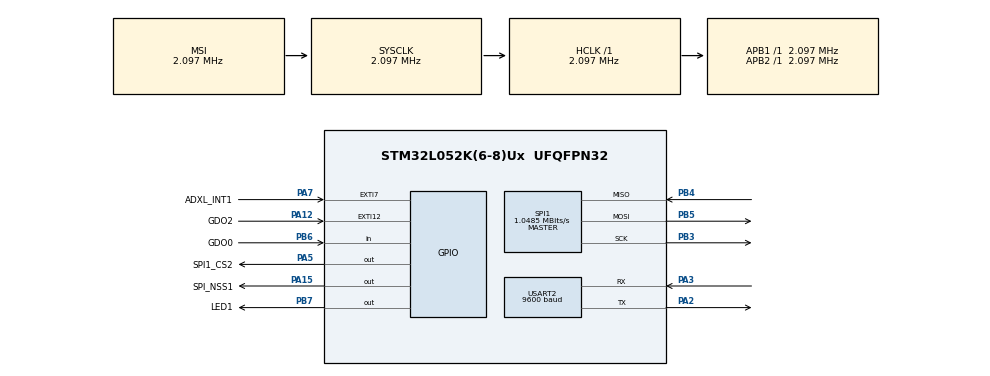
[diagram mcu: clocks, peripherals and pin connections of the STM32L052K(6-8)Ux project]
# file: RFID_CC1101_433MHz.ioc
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IWDG.Prescaler=IWDG_PRESCALER_256
Mcu.Family=STM32L0
Mcu.Name=STM32L052K(6-8)Ux
Mcu.Package=UFQFPN32
NVIC.EXTI4_15_IRQn=true\:1\:0\:true\:false\:true\:true\:true
NVIC.USART2_IRQn=true\:2\:0\:true\:false\:true\:true\:true
PA12.GPIO_Label=GDO2
PA12.GPIO_ModeDefaultEXTI=GPIO_MODE_IT_FALLING
PA12.Signal=GPXTI12
PA13.Mode=Serial_Wire
PA13.Signal=SYS_SWDIO
PA14.Mode=Serial_Wire
PA14.Signal=SYS_SWCLK
PA15.GPIO_Label=SPI_NSS1
PA15.GPIO_PuPd=GPIO_PULLUP
PA15.PinState=GPIO_PIN_SET
PA15.Signal=GPIO_Output
PA2.Mode=Asynchronous
PA2.Signal=USART2_TX
PA3.Mode=Asynchronous
PA3.Signal=USART2_RX
PA5.GPIO_Label=SPI1_CS2
PA5.GPIO_PuPd=GPIO_PULLUP
PA5.PinState=GPIO_PIN_SET
PA5.Signal=GPIO_Output
PA7.GPIO_Label=ADXL_INT1
PA7.Signal=GPXTI7
PB3.Mode=Full_Duplex_Master
PB3.Signal=SPI1_SCK
PB4.Mode=Full_Duplex_Master
PB4.Signal=SPI1_MISO
PB5.Mode=Full_Duplex_Master
PB5.Signal=SPI1_MOSI
PB6.GPIO_Label=GDO0
PB6.Signal=GPIO_Input
PB7.GPIO_Label=LED1
PB7.GPIO_PuPd=GPIO_PULLUP
PB7.PinState=GPIO_PIN_SET
PB7.Signal=GPIO_Output
PC14-OSC32_IN.Mode=LSE-External-Oscillator
PC14-OSC32_IN.Signal=RCC_OSC32_IN
PC15-OSC32_OUT.Mode=LSE-External-Oscillator
PC15-OSC32_OUT.Signal=RCC_OSC32_OUT
ProjectManager.HeapSize=0x200
ProjectManager.StackSize=0x400
ProjectManager.TargetToolchain=MDK-ARM V5.27
RCC.AHBFreq_Value=2097000
RCC.APB1Freq_Value=2097000
RCC.APB1TimFreq_Value=2097000
RCC.APB2Freq_Value=2097000
RCC.APB2TimFreq_Value=2097000
RCC.HCLKFreq_Value=2097000
RCC.HSI16_VALUE=16000000
RCC.HSI48_VALUE=48000000
RCC.HSI_VALUE=16000000
RCC.MSI_VALUE=2097000
RCC.PLLDIV=RCC_PLLDIV_4
RCC.PLLMUL=RCC_PLLMUL_4
RCC.SYSCLKFreq_VALUE=2097000
RCC.VCOOutputFreq_Value=64000000
SPI1.BaudRatePrescaler=SPI_BAUDRATEPRESCALER_2
SPI1.CalculateBaudRate=1.0485 MBits/s
SPI1.Direction=SPI_DIRECTION_2LINES
SPI1.Mode=SPI_MODE_MASTER
SPI1.VirtualType=VM_MASTER
USART2.BaudRate=9600
USART2.VirtualMode-Asynchronous=VM_ASYNC
VP_IWDG_VS_IWDG.Mode=IWDG_Activate
board=custom

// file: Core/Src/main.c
/* USER CODE BEGIN Header */
/**
  ******************************************************************************
  * @file           : main.c
  * @brief          : Main program body
  ******************************************************************************
  * @attention
  *
  * <h2><center>&copy; Copyright (c) 2020 STMicroelectronics.
  * All rights reserved.</center></h2>
  *
  * This software component is licensed by ST under BSD 3-Clause license,
  * the "License"; You may not use this file except in compliance with the
  * License. You may obtain a copy of the License at:
  *                        opensource.org/licenses/BSD-3-Clause
  *
  ******************************************************************************
  */
/* USER CODE END Header */
#include "main.h"
#include "iwdg.h"
#include "spi.h"
#include "usart.h"
#include "gpio.h"

/* USER CODE BEGIN Includes */
#include "cc1101.h"
#include "adxl362.h"
/* USER CODE END Includes */

/* USER CODE BEGIN PV */
uint32_t Device_Serial0;
uint32_t Device_Serial1;
uint32_t Device_Serial2;
uint8_t addr_eeprom;
uint16_t sync_eeprom;
uint32_t rfid_eeprom;
uint8_t rx_index = 0x0;
uint8_t	Chip_Addr = 0;
uint8_t	RSSI = 0;

uint8_t step_stage;
uint16_t timedelay;
uint8_t battery_low;
uint16_t step[STEP_NUM];

uint8_t SendBuffer[SEND_LLENGTH] = {0};
uint8_t RecvBuffer[RECV_LENGTH] = {0};

extern uint8_t RxBuffer[RXBUFFERSIZE];
extern __IO FlagStatus CommandState;
/* USER CODE END PV */

void SystemClock_Config(void);

int main(void)
{

  /* MCU Configuration--------------------------------------------------------*/

  /* Reset of all peripherals, Initializes the Flash interface and the Systick. */
  HAL_Init();

  /* Configure the system clock */
  SystemClock_Config();

  /* Initialize all configured peripherals */
  MX_GPIO_Init();
  MX_SPI1_Init();
  MX_USART2_UART_Init();
  MX_IWDG_Init();
  /* USER CODE BEGIN 2 */
  System_Initial();
  Show_Message();
  /* USER CODE END 2 */

  /* Infinite loop */
  /* USER CODE BEGIN WHILE */
  while (1)
  {
		/* Refresh IWDG down-counter to default value */
		LL_IWDG_ReloadCounter(IWDG);
		rx_index = RF_RecvHandler();
		if(rx_index != 0x0)
		{
			RF_SendPacket(rx_index);
		}
    /* USER CODE END WHILE */

    /* USER CODE BEGIN 3 */
		if(CommandState == SET)
		{
			Set_DeviceInfo();
			CommandState = RESET;
		}
  }
  /* USER CODE END 3 */
}

void SystemClock_Config(void)
{
  RCC_OscInitTypeDef RCC_OscInitStruct = {0};
  RCC_ClkInitTypeDef RCC_ClkInitStruct = {0};
  RCC_PeriphCLKInitTypeDef PeriphClkInit = {0};

  /** Configure the main internal regulator output voltage
  */
  __HAL_PWR_VOLTAGESCALING_CONFIG(PWR_REGULATOR_VOLTAGE_SCALE1);
  /** Initializes the RCC Oscillators according to the specified parameters
  * in the RCC_OscInitTypeDef structure.
  */
  RCC_OscInitStruct.OscillatorType = RCC_OSCILLATORTYPE_LSI|RCC_OSCILLATORTYPE_MSI;
  RCC_OscInitStruct.LSIState = RCC_LSI_ON;
  RCC_OscInitStruct.MSIState = RCC_MSI_ON;
  RCC_OscInitStruct.MSICalibrationValue = 0;
  RCC_OscInitStruct.MSIClockRange = RCC_MSIRANGE_5;
  RCC_OscInitStruct.PLL.PLLState = RCC_PLL_NONE;
  if (HAL_RCC_OscConfig(&RCC_OscInitStruct) != HAL_OK)
  {
    Error_Handler();
  }
  /** Initializes the CPU, AHB and APB buses clocks
  */
  RCC_ClkInitStruct.ClockType = RCC_CLOCKTYPE_HCLK|RCC_CLOCKTYPE_SYSCLK
                              |RCC_CLOCKTYPE_PCLK1|RCC_CLOCKTYPE_PCLK2;
  RCC_ClkInitStruct.SYSCLKSource = RCC_SYSCLKSOURCE_MSI;
  RCC_ClkInitStruct.AHBCLKDivider = RCC_SYSCLK_DIV1;
  RCC_ClkInitStruct.APB1CLKDivider = RCC_HCLK_DIV1;
  RCC_ClkInitStruct.APB2CLKDivider = RCC_HCLK_DIV1;

  if (HAL_RCC_ClockConfig(&RCC_ClkInitStruct, FLASH_LATENCY_0) != HAL_OK)
  {
    Error_Handler();
  }
  PeriphClkInit.PeriphClockSelection = RCC_PERIPHCLK_USART2;
  PeriphClkInit.Usart2ClockSelection = RCC_USART2CLKSOURCE_PCLK1;
  if (HAL_RCCEx_PeriphCLKConfig(&PeriphClkInit) != HAL_OK)
  {
    Error_Handler();
  }
}

/* USER CODE BEGIN 4 */
/**
  * @brief System Initial
  * @retval None
*/
void System_Initial(void)
{
	uint8_t i;
	/*##-1- initial all peripheral ##*/
	#ifdef DEBUG
		Activate_USART2_RXIT();
	#endif
	#ifndef DEBUG
		MX_USART2_UART_DeInit();
	#endif
	Activate_SPI();
	Get_SerialNum();
	ADXL362_Init();
	/*##-2- initial CC1101 peripheral,configure it's address and sync code ##*/
	addr_eeprom = (uint8_t)(0xff & DATAEEPROM_Read(EEPROM_START_ADDR)>>16);
	sync_eeprom = (uint16_t)(0xffff & DATAEEPROM_Read(EEPROM_START_ADDR));
	rfid_eeprom	= DATAEEPROM_Read(EEPROM_START_ADDR+4);
	#ifdef DEBUG
		printf("addr_eeprom = %x\n",addr_eeprom);
		printf("sync_eeprom = %x\n",sync_eeprom);
		printf("rfid_eeprom = %x\n",(unsigned int)rfid_eeprom);
	#endif
	RFIDInitial(addr_eeprom, sync_eeprom, IDLE_MODE);

	for(i = 0;i < STEP_NUM; i++)
	{
		step[i] = (uint16_t)(0x0000FFFF & DATAEEPROM_Read(EEPROM_START_ADDR+4*i+8));
		DATAEEPROM_Program(EEPROM_START_ADDR+4*i+8, 0x0);
	}

	step_stage = (uint8_t)(0x000000FF & DATAEEPROM_Read(EEPROM_START_ADDR+152));
	DATAEEPROM_Program(EEPROM_START_ADDR+152, 0x0);
	battery_low = (uint8_t)(0x000000FF & DATAEEPROM_Read(EEPROM_START_ADDR+160));
	DATAEEPROM_Program(EEPROM_START_ADDR+160, 0x0);
	timedelay = (uint16_t)(0x0000FFFF & DATAEEPROM_Read(EEPROM_START_ADDR+168));
	DATAEEPROM_Program(EEPROM_START_ADDR+168, Time_Delay);
}

/**
  * @brief Get Device Unique Code
  * @retval None
*/
void Get_SerialNum(void)
{
  Device_Serial0 = *(uint32_t*)(0x1FF80050);
  Device_Serial1 = *(uint32_t*)(0x1FF80054);
  Device_Serial2 = *(uint32_t*)(0x1FF80064);
}

/**
  * @brief Show Message
  * @retval None
*/
void Show_Message(void)
{
	unsigned int  ReadValueTemp;
	#ifdef DEBUG
		printf("\r\n CC1101 chip transfer program \n");
		printf(" using USART2,configuration:%d 8-N-1 \n",9600);
		printf(" when in transfer mode,the data must not exceed 60 bytes!!\r\n");
	#endif
	#ifdef DEBUG
		printf("Device_Serial0 : %x\n",(unsigned int)Device_Serial0);
		printf("Device_Serial1 : %x\n",(unsigned int)Device_Serial1);
		printf("Device_Serial2 : %x\n",(unsigned int)Device_Serial2);
	#endif
	ReadValueTemp = ADXL362RegisterRead(XL362_DEVID_AD);     	//Analog Devices device ID, 0xAD
	if(ReadValueTemp == 0xAD)
	{
		LED_GREEN_OFF();
		HAL_Delay(500);
	}
	#ifdef DEBUG
		printf("Analog Devices device ID: %x\n",ReadValueTemp);	 	//send via UART
	#endif
	ReadValueTemp = ADXL362RegisterRead(XL362_DEVID_MST);    	//Analog Devices MEMS device ID, 0x1D
	if(ReadValueTemp == 0x1D)
	{
		LED_GREEN_ON();
		HAL_Delay(500);
	}
	#ifdef DEBUG
		printf("Analog Devices MEMS device ID: %x\n",ReadValueTemp);	//send via UART
	#endif
	ReadValueTemp = ADXL362RegisterRead(XL362_PARTID);       	//part ID, 0xF2
	if(ReadValueTemp == 0xF2)
	{
		LED_GREEN_OFF();
		HAL_Delay(500);
	}
	#ifdef DEBUG
		printf("Part ID: %x\n",ReadValueTemp);										//send via UART
	#endif
	ReadValueTemp = ADXL362RegisterRead(XL362_REVID);       	//version ID, 0x02
	if(ReadValueTemp == 0x02)
	{
		LED_GREEN_ON();
	}
	#ifdef DEBUG
		printf("Version ID: %x\n",ReadValueTemp);									//send via UART
	#endif
}

/**
  * @brief Receive RF Single
  * @retval index
*/
uint8_t RF_RecvHandler(void)
{
	uint8_t length=0;
	int16_t rssi_dBm;
	uint32_t timeout;
	uint8_t i;

	if(CC1101_IRQ_READ() == 0)
		{
			#ifdef DEBUG
				printf("interrupt occur\n");
			#endif
			timeout = Delay_TimeOut;
			while (CC1101_IRQ_READ() == 0 && timeout != 0)
			{
				timeout--;
			}
			for (i=0; i<RECV_LENGTH; i++)   { RecvBuffer[i] = 0; } // clear array
			length = CC1101RecPacket(RecvBuffer, &Chip_Addr, &RSSI);

			#ifdef DEBUG
				rssi_dBm = CC1101CalcRSSI_dBm(RSSI);
				printf("RSSI = %ddBm, length = %d, address = %d\n",rssi_dBm,length,Chip_Addr);
				for(i=0; i<RECV_LENGTH; i++)
				{
					printf("%x ",RecvBuffer[i]);
				}
			#endif
			if(length == 0)
				{
					#ifdef DEBUG
						printf("receive error or Address Filtering fail\n");
					#endif
					return 0x01;
				}
			else
				{
					if(RecvBuffer[0] == 0xAB && RecvBuffer[1] == 0xCD)
					{
						if(RecvBuffer[4] == 0xC0 && RecvBuffer[5] == 0xC0)
						{return 0x04;}
						else if(RecvBuffer[4] == 0xC2 && RecvBuffer[5] == 0xC2)
						{return 0x05;}
						else if(RecvBuffer[4] == 0xC3 && RecvBuffer[5] == 0xC3)
						{return 0x06;}
						else if(RecvBuffer[4] == 0xC4 && RecvBuffer[5] == 0xC4)
						{return 0x07;}
						else if(RecvBuffer[4] == 0xC5 && RecvBuffer[5] == 0xC5)
						{return 0x08;}
						else if(RecvBuffer[4] == 0xC6 && RecvBuffer[5] == 0xC6)
						{return 0x09;}
						else
						{
							#ifdef DEBUG
								printf("receive function order error\r\n");
							#endif
							return 0x03;}
					}
					else
					{
						#ifdef DEBUG
							printf("receive package beginning error\r\n");
						#endif
						return 0x02;}
				}
		}
	else	{return 0x00;}
}
/**
  * @brief Send RF Single
  * @retval None
*/
void RF_SendPacket(uint8_t index)
{
	uint32_t data;
	uint32_t dataeeprom;// 从eeprom中读出的数
	uint8_t i;

//	LED_GREEN_OFF();

	switch(index)
	{
		case 0x01://receive error or Address Filtering fail
			SendBuffer[0] = 0xAB;
			SendBuffer[1] = 0xCD;
			SendBuffer[2] = RecvBuffer[2];
			SendBuffer[3] = RecvBuffer[3];
			SendBuffer[4] = 0x01;
			SendBuffer[5] = 0x01;
			SendBuffer[6] = RecvBuffer[6];
			SendBuffer[7] = RecvBuffer[7];
			SendBuffer[8] = RecvBuffer[8];
			SendBuffer[9] = RecvBuffer[9];
			SendBuffer[10] = 0xE0;
			SendBuffer[18] = RSSI;

			HAL_Delay(Time_Delay);
			CC1101SendPacket(SendBuffer, SEND_SLENGTH, ADDRESS_CHECK);
			break;
		case 0x02://receive package beginning error
			SendBuffer[0] = 0xAB;
			SendBuffer[1] = 0xCD;
			SendBuffer[2] = RecvBuffer[2];
			SendBuffer[3] = RecvBuffer[3];
			SendBuffer[4] = 0x02;
			SendBuffer[5] = 0x02;
			SendBuffer[6] = RecvBuffer[6];
			SendBuffer[7] = RecvBuffer[7];
			SendBuffer[8] = RecvBuffer[8];
			SendBuffer[9] = RecvBuffer[9];
			SendBuffer[10] = 0xE1;
			SendBuffer[18] = RSSI;

			HAL_Delay(Time_Delay);
			CC1101SendPacket(SendBuffer, SEND_SLENGTH, ADDRESS_CHECK);
			break;
		case 0x03://receive function order error
			SendBuffer[0] = 0xAB;
			SendBuffer[1] = 0xCD;
			SendBuffer[2] = RecvBuffer[2];
			SendBuffer[3] = RecvBuffer[3];
			SendBuffer[4] = 0x03;
			SendBuffer[5] = 0x03;
			SendBuffer[6] = RecvBuffer[6];
			SendBuffer[7] = RecvBuffer[7];
			SendBuffer[8] = RecvBuffer[8];
			SendBuffer[9] = RecvBuffer[9];
			SendBuffer[10] = 0xE2;
			SendBuffer[18] = RSSI;

			HAL_Delay(Time_Delay);
			CC1101SendPacket(SendBuffer, SEND_SLENGTH, ADDRESS_CHECK);
			break;

		case 0x04:
			SendBuffer[0] = 0xAB;
			SendBuffer[1] = 0xCD;
			SendBuffer[2] = RecvBuffer[2];
			SendBuffer[3] = RecvBuffer[3];
			SendBuffer[4] = 0xD0;
			SendBuffer[5] = 0x01;
			SendBuffer[6] = (uint8_t)(0x000000FF & Device_Serial2>>24);
			SendBuffer[7] = (uint8_t)(0x000000FF & Device_Serial2>>16);
			SendBuffer[8] = (uint8_t)(0x000000FF & Device_Serial2>>8);
			SendBuffer[9] = (uint8_t)(0x000000FF & Device_Serial2);
			SendBuffer[10] = (uint8_t)(0x000000FF & Device_Serial1>>24);
			SendBuffer[11] = (uint8_t)(0x000000FF & Device_Serial1>>16);
			SendBuffer[12] = (uint8_t)(0x000000FF & Device_Serial1>>8);
			SendBuffer[13] = (uint8_t)(0x000000FF & Device_Serial1);
			SendBuffer[14] = (uint8_t)(0x000000FF & Device_Serial0>>24);
			SendBuffer[15] = (uint8_t)(0x000000FF & Device_Serial0>>16);
			SendBuffer[16] = (uint8_t)(0x000000FF & Device_Serial0>>8);
			SendBuffer[17] = (uint8_t)(0x000000FF & Device_Serial0);

			for(i = 0;i < STEP_NUM; i++)
			{
				SendBuffer[18+i*2] = (uint8_t)(0x00FF & step[i]>>8);
				SendBuffer[19+i*2] = (uint8_t)(0x00FF & step[i]);
			}
			SendBuffer[90] = step_stage;
			SendBuffer[91] = battery_low;
			SendBuffer[92] = RSSI;

//			for(i=0; i<SEND_LLENGTH; i++)
//			{
//				printf("%x ",SendBuffer[i]);
//			}
//			printf("\r\n");

			HAL_Delay(Time_Delay);
			CC1101SendPacket(SendBuffer, SEND_LLENGTH, ADDRESS_CHECK);
			break;

		case 0x05:
			battery_low = 0x00;
			DATAEEPROM_Program(EEPROM_START_ADDR+160, battery_low);
			SendBuffer[0] = 0xAB;
			SendBuffer[1] = 0xCD;
			SendBuffer[2] = RecvBuffer[2];
			SendBuffer[3] = RecvBuffer[3];
			SendBuffer[4] = 0xD2;
			SendBuffer[5] = 0x01;
			SendBuffer[6] = RecvBuffer[6];
			SendBuffer[7] = RecvBuffer[7];
			SendBuffer[8] = RecvBuffer[8];
			SendBuffer[9] = RecvBuffer[9];
			battery_low = (uint8_t)(0x000000FF & DATAEEPROM_Read(EEPROM_START_ADDR+160));
			SendBuffer[10] = battery_low;
			SendBuffer[18] = RSSI;

			HAL_Delay(Time_Delay);
			CC1101SendPacket(SendBuffer, SEND_SLENGTH, ADDRESS_CHECK);
			break;

		case 0x06:
			ADXL362_ReInit(RecvBuffer[10], RecvBuffer[11], RecvBuffer[13], RecvBuffer[14], RecvBuffer[15], RecvBuffer[16], RecvBuffer[17]);
			SendBuffer[0] = 0xAB;
			SendBuffer[1] = 0xCD;
			SendBuffer[2] = RecvBuffer[2];
			SendBuffer[3] = RecvBuffer[3];
			SendBuffer[4] = 0xD3;
			SendBuffer[5] = 0x01;
			SendBuffer[6] = RecvBuffer[6];
			SendBuffer[7] = RecvBuffer[7];
			SendBuffer[8] = RecvBuffer[8];
			SendBuffer[9] = RecvBuffer[9];
			SendBuffer[10] = ADXL362RegisterRead(XL362_THRESH_ACT_H);
			SendBuffer[11] = ADXL362RegisterRead(XL362_THRESH_ACT_L);
			SendBuffer[12] = ADXL362RegisterRead(XL362_TIME_ACT);
			SendBuffer[13] = ADXL362RegisterRead(XL362_THRESH_INACT_H);
			SendBuffer[14] = ADXL362RegisterRead(XL362_THRESH_INACT_L);
			SendBuffer[15] = ADXL362RegisterRead(XL362_TIME_INACT_H);
			SendBuffer[16] = ADXL362RegisterRead(XL362_TIME_INACT_L);
			SendBuffer[17] = ADXL362RegisterRead(XL362_FILTER_CTL);
			SendBuffer[18] = RSSI;

			HAL_Delay(Time_Delay);
			CC1101SendPacket(SendBuffer, SEND_SLENGTH, ADDRESS_CHECK);
			break;

		case 0x07:
			SendBuffer[0] = 0xAB;
			SendBuffer[1] = 0xCD;
			SendBuffer[2] = RecvBuffer[2];
			SendBuffer[3] = RecvBuffer[3];
			SendBuffer[4] = 0xD4;
			SendBuffer[5] = 0x01;
			SendBuffer[6] = (uint8_t)(0x000000FF & Device_Serial2>>24);
			SendBuffer[7] = (uint8_t)(0x000000FF & Device_Serial2>>16);
			SendBuffer[8] = (uint8_t)(0x000000FF & Device_Serial2>>8);
			SendBuffer[9] = (uint8_t)(0x000000FF & Device_Serial2);
			SendBuffer[10] = (uint8_t)(0x000000FF & Device_Serial1>>24);
			SendBuffer[11] = (uint8_t)(0x000000FF & Device_Serial1>>16);
			SendBuffer[12] = (uint8_t)(0x000000FF & Device_Serial1>>8);
			SendBuffer[13] = (uint8_t)(0x000000FF & Device_Serial1);
			SendBuffer[14] = (uint8_t)(0x000000FF & Device_Serial0>>24);
			SendBuffer[15] = (uint8_t)(0x000000FF & Device_Serial0>>16);
			SendBuffer[16] = (uint8_t)(0x000000FF & Device_Serial0>>8);
			SendBuffer[17] = (uint8_t)(0x000000FF & Device_Serial0);

			for(i = 0;i < STEP_NUM; i++)
			{
				SendBuffer[18+i*2] = (uint8_t)(0x00FF & step[i]>>8);
				SendBuffer[19+i*2] = (uint8_t)(0x00FF & step[i]);
			}
			SendBuffer[90] = step_stage;
			SendBuffer[91] = battery_low;
			SendBuffer[92] = RSSI;

			HAL_Delay(Time_Delay);
			CC1101SendPacket(SendBuffer, SEND_LLENGTH, ADDRESS_CHECK);
			break;

		case 0x08:
			data = ((uint32_t)(0xFF000000 & RecvBuffer[10]<<24)+(uint32_t)(0x00FF0000 & RecvBuffer[11]<<16)+(uint32_t)(0x0000FF00 & RecvBuffer[12]<<8)+(uint32_t)(0x000000FF & RecvBuffer[13]));
			DATAEEPROM_Program(EEPROM_START_ADDR, data);
			data = ((uint32_t)(0xFF000000 & RecvBuffer[14]<<24)+(uint32_t)(0x00FF0000 & RecvBuffer[15]<<16)+(uint32_t)(0x0000FF00 & RecvBuffer[16]<<8)+(uint32_t)(0x000000FF & RecvBuffer[17]));
			DATAEEPROM_Program(EEPROM_START_ADDR+4, data);
			SendBuffer[0] = 0xAB;
			SendBuffer[1] = 0xCD;
			SendBuffer[2] = RecvBuffer[2];
			SendBuffer[3] = RecvBuffer[3];
			SendBuffer[4] = 0xD5;
			SendBuffer[5] = 0x01;
			SendBuffer[6] = RecvBuffer[6];
			SendBuffer[7] = RecvBuffer[7];
			SendBuffer[8] = RecvBuffer[8];
			SendBuffer[9] = RecvBuffer[9];
			dataeeprom = DATAEEPROM_Read(EEPROM_START_ADDR);
			SendBuffer[10] = (uint8_t)(0x000000FF & dataeeprom>>24);
			SendBuffer[11] = (uint8_t)(0x000000FF & dataeeprom>>16);
			SendBuffer[12] = (uint8_t)(0x000000FF & dataeeprom>>8);
			SendBuffer[13] = (uint8_t)(0x000000FF & dataeeprom);
			dataeeprom = DATAEEPROM_Read(EEPROM_START_ADDR+4);
			SendBuffer[14] = (uint8_t)(0x000000FF & dataeeprom>>24);
			SendBuffer[15] = (uint8_t)(0x000000FF & dataeeprom>>16);
			SendBuffer[16] = (uint8_t)(0x000000FF & dataeeprom>>8);
			SendBuffer[17] = (uint8_t)(0x000000FF & dataeeprom);
			SendBuffer[18] = RSSI;
			HAL_Delay(Time_Delay);
			CC1101SendPacket(SendBuffer, SEND_SLENGTH, ADDRESS_CHECK);
			break;

		case 0x09:
			for(i = 0;i < STEP_NUM; i++)
			{
				step[i] = 0;
				DATAEEPROM_Program(EEPROM_START_ADDR+4*i+8, 0x0);
			}
			step_stage = 0;
			timedelay = Time_Delay;
			DATAEEPROM_Program(EEPROM_START_ADDR+152, 0x0);
			DATAEEPROM_Program(EEPROM_START_ADDR+168, Time_Delay);
			SendBuffer[0] = 0xAB;
			SendBuffer[1] = 0xCD;
			SendBuffer[2] = RecvBuffer[2];
			SendBuffer[3] = RecvBuffer[3];
			SendBuffer[4] = 0xD6;
			SendBuffer[5] = 0x01;
			SendBuffer[6] = RecvBuffer[6];
			SendBuffer[7] = RecvBuffer[7];
			SendBuffer[8] = RecvBuffer[8];
			SendBuffer[9] = RecvBuffer[9];
			SendBuffer[18] = RSSI;
			HAL_Delay(Time_Delay);
			CC1101SendPacket(SendBuffer, SEND_SLENGTH, ADDRESS_CHECK);
			break;
		default : break;
	}

	for(i=0; i<SEND_LLENGTH; i++) // clear array
	{SendBuffer[i] = 0;}

	CC1101SetIdle();
	CC1101WORInit();
	CC1101SetWORMode();
//	LED_GREEN_ON();
}

/**
  * @brief Set_DeviceInfo
  * @retval None
*/
void Set_DeviceInfo(void)
{
  /* Set transmission flag: trasfer complete*/
	uint32_t data;
	uint8_t uart_addr_eeprom;// 从eeprom中读出的数
	uint16_t uart_sync_eeprom;
	uint32_t uart_rfid_eeprom;

	/*##-1- Check UART receive data whether is ‘ABCD’ begin or not ###########################*/
	if(RxBuffer[0] == 0x41 && RxBuffer[1] == 0x42 && RxBuffer[2] == 0x43 && RxBuffer[3] == 0x44)//输入‘ABCD’
	{
		data = ((uint32_t)(0xFF000000 & RxBuffer[4]<<24)+(uint32_t)(0x00FF0000 & RxBuffer[5]<<16)+(uint32_t)(0x0000FF00 & RxBuffer[6]<<8)+(uint32_t)(0x000000FF & RxBuffer[7]));
		DATAEEPROM_Program(EEPROM_START_ADDR, data);
		data = ((uint32_t)(0xFF000000 & RxBuffer[8]<<24)+(uint32_t)(0x00FF0000 & RxBuffer[9]<<16)+(uint32_t)(0x0000FF00 & RxBuffer[10]<<8)+(uint32_t)(0x000000FF & RxBuffer[11]));
		DATAEEPROM_Program(EEPROM_START_ADDR+4, data);
		uart_addr_eeprom = (uint8_t)(0xff & DATAEEPROM_Read(EEPROM_START_ADDR)>>16);
		uart_sync_eeprom = (uint16_t)(0xffff & DATAEEPROM_Read(EEPROM_START_ADDR));
		uart_rfid_eeprom	= DATAEEPROM_Read(EEPROM_START_ADDR+4);
		#ifdef DEBUG
			printf("eeprom program end\n");
			printf("addr_eeprom = %x\n",uart_addr_eeprom);
			printf("sync_eeprom = %x\n",uart_sync_eeprom);
			printf("rfid_eeprom = %x\n",uart_rfid_eeprom);
		#endif
	}
}

/**
  * @brief DATAEEPROM WRITE
  * @retval None
*/
void DATAEEPROM_Program(uint32_t Address, uint32_t Data)
{
	/* Unlocks the data memory and FLASH_PECR register access *************/
	if(HAL_FLASHEx_DATAEEPROM_Unlock() != HAL_OK)
	{
    Error_Handler();
	}
	/* Clear FLASH error pending bits */
	__HAL_FLASH_CLEAR_FLAG(FLASH_FLAG_WRPERR | FLASH_FLAG_SIZERR |
							FLASH_FLAG_OPTVERR | FLASH_FLAG_RDERR |
								FLASH_FLAG_FWWERR | FLASH_FLAG_NOTZEROERR);
	/*Erase a word in data memory *************/
	if (HAL_FLASHEx_DATAEEPROM_Erase(Address) != HAL_OK)
	{
		Error_Handler();
	}
	/*Enable DATA EEPROM fixed Time programming (2*Tprog) *************/
	HAL_FLASHEx_DATAEEPROM_EnableFixedTimeProgram();
	/* Program word at a specified address *************/
	if (HAL_FLASHEx_DATAEEPROM_Program(FLASH_TYPEPROGRAMDATA_WORD, Address, Data) != HAL_OK)
	{
		Error_Handler();
	}
	/*Disables DATA EEPROM fixed Time programming (2*Tprog) *************/
	HAL_FLASHEx_DATAEEPROM_DisableFixedTimeProgram();

	/* Locks the Data memory and FLASH_PECR register access. (recommended
     to protect the DATA_EEPROM against possible unwanted operation) *********/
	HAL_FLASHEx_DATAEEPROM_Lock();

}

/**
  * @brief DATAEEPROM READ
  * @retval DATA
*/
uint32_t DATAEEPROM_Read(uint32_t Address)
{
	return *(__IO uint32_t*)Address;
}

/* USER CODE END 4 */

void Error_Handler(void)
{
}

/************************ (C) COPYRIGHT STMicroelectronics *****END OF FILE****/
